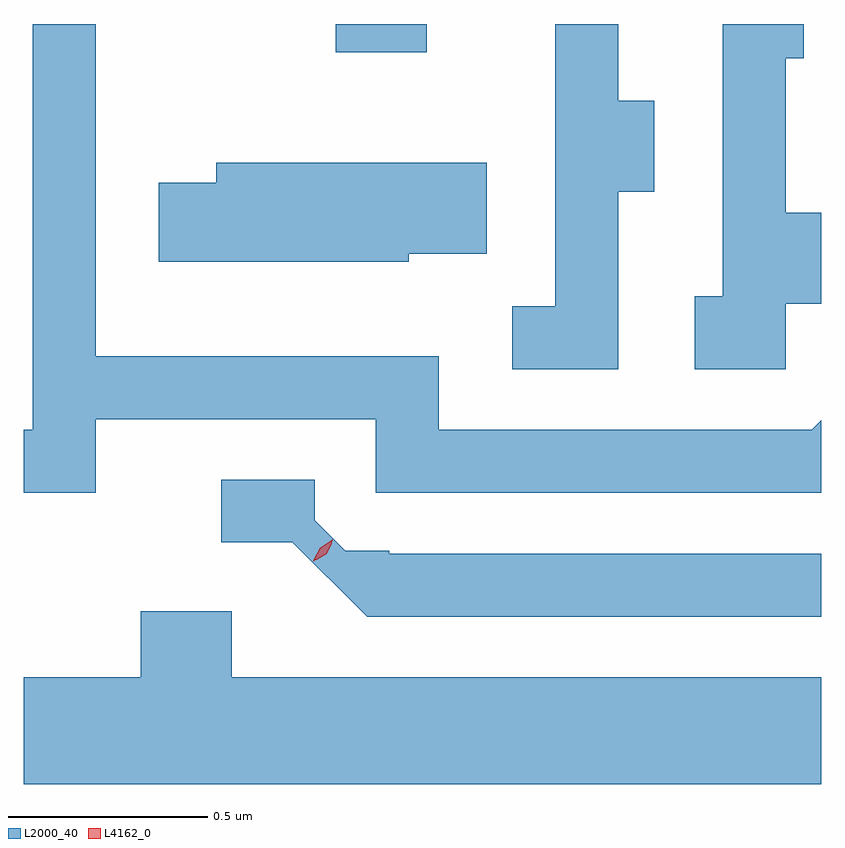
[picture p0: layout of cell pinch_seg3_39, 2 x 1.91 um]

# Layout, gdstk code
import gdstk
lib = gdstk.Library(unit=1e-6, precision=1e-09)
def R(c, l, rs):  # rectangles x0, y0, x1, y1
    for r in rs: c.add(gdstk.rectangle(r[:2], r[2:], *l))
def P(c, l, *ps):  # polygons
    for p in ps: c.add(gdstk.Polygon(p, *l))
L2000_40 = (2000, 40)
L4162_0 = (4162, 0)

pinch_seg3_39 = lib.new_cell('pinch_seg3_39')
R(pinch_seg3_39, L2000_40, [(1880.711,1165.591,1880.939,1165.662)])
P(pinch_seg3_39, L2000_40, [(1881.419,1165.241),(1881.509,1165.241),(1881.509,1165.469),(1881.419,1165.469),(1881.419,1165.662),(1881.261,1165.662),(1881.261,1164.954),(1881.153,1164.954),(1881.153,1164.796),(1881.419,1164.796)],
  [(1881.839,1164.961),(1881.928,1164.961),(1881.928,1165.189),(1881.839,1165.189),(1881.839,1165.576),(1881.884,1165.576),(1881.884,1165.662),(1881.681,1165.662),(1881.681,1164.979),(1881.611,1164.979),(1881.611,1164.796),(1881.839,1164.796)],
  [(1880.109,1164.671),(1880.811,1164.671),(1880.811,1164.486),(1881.928,1164.486),(1881.928,1164.668),(1881.904,1164.644),(1880.969,1164.644),(1880.969,1164.829),(1880.109,1164.829),(1880.109,1165.662),(1879.951,1165.662),(1879.951,1164.644),(1879.928,1164.644),(1879.928,1164.486),(1880.109,1164.486)],
  [(1880.894,1165.086),(1881.089,1165.086),(1881.089,1165.314),(1880.411,1165.314),(1880.411,1165.264),(1880.266,1165.264),(1880.266,1165.066),(1880.894,1165.066)],
  [(1881.928,1164.334),(1880.845,1164.334),(1880.845,1164.341),(1880.734,1164.341),(1880.658,1164.417),(1880.658,1164.519),(1880.423,1164.519),(1880.423,1164.362),(1880.601,1164.362),(1880.689,1164.274),(1880.69,1164.275),(1880.789,1164.176),(1881.928,1164.176)],
  [(1881.928,1164.024),(1880.449,1164.024),(1880.449,1164.189),(1880.221,1164.189),(1880.221,1164.024),(1879.928,1164.024),(1879.928,1163.756),(1881.928,1163.756)])
P(pinch_seg3_39, L4162_0, [(1880.654,1164.315),(1880.654,1164.316),(1880.671,1164.349),(1880.702,1164.368),(1880.703,1164.368),(1880.703,1164.368),(1880.686,1164.335),(1880.654,1164.315)],
  [(1880.662,1164.319),(1880.662,1164.32),(1880.674,1164.346),(1880.699,1164.36),(1880.7,1164.36),(1880.7,1164.36),(1880.688,1164.333),(1880.663,1164.319)])

lib.write_gds('pinch_seg3_39.gds')
